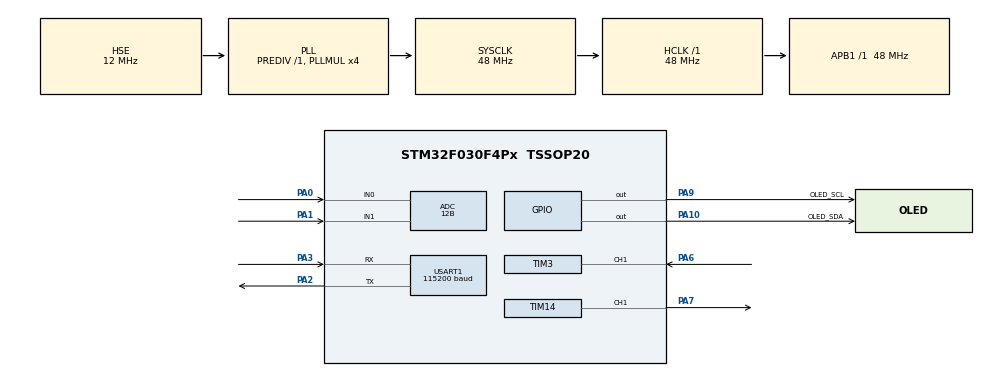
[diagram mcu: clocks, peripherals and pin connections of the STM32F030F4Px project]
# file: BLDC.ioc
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ADC.ClockPrescaler=ADC_CLOCK_ASYNC_DIV1
ADC.ContinuousConvMode=ENABLE
ADC.DMAContinuousRequests=ENABLE
ADC.DataAlign=ADC_DATAALIGN_RIGHT
ADC.DiscontinuousConvMode=DISABLE
ADC.EOCSelection=ADC_EOC_SINGLE_SEQ_CONV
ADC.EnableAnalogWatchDog=false
ADC.ExternalTrigConvEdge=ADC_EXTERNALTRIGCONVEDGE_NONE
ADC.LowPowerAutoPowerOff=DISABLE
ADC.LowPowerAutoWait=DISABLE
ADC.Overrun=ADC_OVR_DATA_PRESERVED
ADC.Resolution=ADC_RESOLUTION_12B
ADC.SamplingTime=ADC_SAMPLETIME_7CYCLES_5
ADC.ScanConvMode=ADC_SCAN_DIRECTION_FORWARD
Dma.ADC.0.Direction=DMA_PERIPH_TO_MEMORY
Dma.ADC.0.Instance=DMA1_Channel1
Dma.ADC.0.MemDataAlignment=DMA_MDATAALIGN_WORD
Dma.ADC.0.MemInc=DMA_MINC_ENABLE
Dma.ADC.0.Mode=DMA_CIRCULAR
Dma.ADC.0.PeriphDataAlignment=DMA_PDATAALIGN_WORD
Dma.ADC.0.PeriphInc=DMA_PINC_DISABLE
Dma.ADC.0.Priority=DMA_PRIORITY_LOW
Dma.Request0=ADC
Mcu.Family=STM32F0
Mcu.Name=STM32F030F4Px
Mcu.Package=TSSOP20
NVIC.DMA1_Channel1_IRQn=true\:0\:0\:false\:false\:true
NVIC.TIM3_IRQn=true\:2\:0\:true\:false\:true
PA0.Mode=IN0
PA0.Signal=ADC_IN0
PA1.Mode=IN1
PA1.Signal=ADC_IN1
PA10.GPIO_FMA10=SYSCFG_CFGR1_I2C_FMP_PA10
PA10.GPIO_Label=OLED_SDA
PA10.GPIO_Speed=GPIO_SPEED_FREQ_HIGH
PA10.PinState=GPIO_PIN_SET
PA10.Signal=GPIO_Output
PA2.Mode=Asynchronous
PA2.Signal=USART1_TX
PA3.Mode=Asynchronous
PA3.Signal=USART1_RX
PA6.Signal=S_TIM3_CH1
PA7.Signal=S_TIM14_CH1
PA9.GPIO_FMA9=SYSCFG_CFGR1_I2C_FMP_PA9
PA9.GPIO_Label=OLED_SCL
PA9.GPIO_Speed=GPIO_SPEED_FREQ_HIGH
PA9.PinState=GPIO_PIN_SET
PA9.Signal=GPIO_Output
PF0-OSC_IN.Mode=HSE-External-Oscillator
PF0-OSC_IN.Signal=RCC_OSC_IN
PF1-OSC_OUT.Mode=HSE-External-Oscillator
PF1-OSC_OUT.Signal=RCC_OSC_OUT
ProjectManager.HeapSize=0x200
ProjectManager.StackSize=0x400
ProjectManager.TargetToolchain=MDK-ARM V5
RCC.AHBFreq_Value=48000000
RCC.APB1Freq_Value=48000000
RCC.APB1TimFreq_Value=48000000
RCC.HCLKFreq_Value=48000000
RCC.HSE_VALUE=12000000
RCC.HSIState=RCC_HSI_ON
RCC.PLLMUL=RCC_PLL_MUL4
RCC.PLLSourceVirtual=RCC_PLLSOURCE_HSE
RCC.SYSCLKFreq_VALUE=48000000
RCC.SYSCLKSource=RCC_SYSCLKSOURCE_PLLCLK
SH.S_TIM14_CH1.0=TIM14_CH1,PWM Generation1 CH1
SH.S_TIM3_CH1.0=TIM3_CH1,Input_Capture1_from_TI1
TIM14.Period=1000-1
TIM3.Period=65535
TIM3.Prescaler=48-1
USART1.BaudRate=115200
VP_TIM14_VS_ClockSourceINT.Mode=Enable_Timer
VP_TIM3_VS_ClockSourceINT.Mode=Internal
board=BLDC

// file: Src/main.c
/**
  ******************************************************************************
  * File Name          : main.c
  * Description        : Main program body
  ******************************************************************************
  *
  * COPYRIGHT(c) 2016 STMicroelectronics
  *
  * Redistribution and use in source and binary forms, with or without modification,
  * are permitted provided that the following conditions are met:
  *   1. Redistributions of source code must retain the above copyright notice,
  *      this list of conditions and the following disclaimer.
  *   2. Redistributions in binary form must reproduce the above copyright notice,
  *      this list of conditions and the following disclaimer in the documentation
  *      and/or other materials provided with the distribution.
  *   3. Neither the name of STMicroelectronics nor the names of its contributors
  *      may be used to endorse or promote products derived from this software
  *      without specific prior written permission.
  *
  * THIS SOFTWARE IS PROVIDED BY THE COPYRIGHT HOLDERS AND CONTRIBUTORS "AS IS"
  * AND ANY EXPRESS OR IMPLIED WARRANTIES, INCLUDING, BUT NOT LIMITED TO, THE
  * IMPLIED WARRANTIES OF MERCHANTABILITY AND FITNESS FOR A PARTICULAR PURPOSE ARE
  * DISCLAIMED. IN NO EVENT SHALL THE COPYRIGHT HOLDER OR CONTRIBUTORS BE LIABLE
  * FOR ANY DIRECT, INDIRECT, INCIDENTAL, SPECIAL, EXEMPLARY, OR CONSEQUENTIAL
  * DAMAGES (INCLUDING, BUT NOT LIMITED TO, PROCUREMENT OF SUBSTITUTE GOODS OR
  * SERVICES; LOSS OF USE, DATA, OR PROFITS; OR BUSINESS INTERRUPTION) HOWEVER
  * CAUSED AND ON ANY THEORY OF LIABILITY, WHETHER IN CONTRACT, STRICT LIABILITY,
  * OR TORT (INCLUDING NEGLIGENCE OR OTHERWISE) ARISING IN ANY WAY OUT OF THE USE
  * OF THIS SOFTWARE, EVEN IF ADVISED OF THE POSSIBILITY OF SUCH DAMAGE.
  *
  ******************************************************************************
  */
#include "main.h"
#include "stm32f0xx_hal.h"
#include "adc.h"
#include "dma.h"
#include "tim.h"
#include "usart.h"
#include "gpio.h"

/* USER CODE BEGIN Includes */
#include "oled.h"
#include "bmp.h"
/* USER CODE END Includes */

/* USER CODE BEGIN PV */
/* Private variables ---------------------------------------------------------*/

/* USER CODE END PV */

void SystemClock_Config(void);
void Error_Handler(void);

/* USER CODE BEGIN PFP */
/* Private function prototypes -----------------------------------------------*/
uint32_t ADC_Value[100];

//捕获状态
//[7]:0,没有成功的捕获;1,成功捕获到一次.
//[6]:0,还没捕获到低电平;1,已经捕获到低电平了.
//[5:0]:捕获低电平后溢出的次数(对于32位定时器来说,1us计数器加1,溢出时间:4294秒)
uint8_t  TIM3CH1_CAPTURE_STA=0;	//输入捕获状态
uint32_t	TIM3CH1_CAPTURE_VAL;	//输入捕获值(TIM2/TIM5是32位)
/* USER CODE END PFP */

int main(void)
{

  /* USER CODE BEGIN 1 */
  uint8_t i;
  volatile uint32_t adc0, adc1;
  volatile long long temp = 0;
  volatile float setspeed, speed;
  /* USER CODE END 1 */

  /* MCU Configuration----------------------------------------------------------*/

  /* Reset of all peripherals, Initializes the Flash interface and the Systick. */
  HAL_Init();

  /* Configure the system clock */
  SystemClock_Config();

  /* Initialize all configured peripherals */
  MX_GPIO_Init();
  MX_DMA_Init();
  MX_USART1_UART_Init();
  MX_ADC_Init();
  MX_TIM14_Init();
  MX_TIM3_Init();

  /* USER CODE BEGIN 2 */
  OLED_Init();
	HAL_ADC_Start_DMA(&hadc, (uint32_t *)&ADC_Value, 100);
	printf("Hello, Benewake!");
  User_PWM_SetValue(450); //48kHz, 45%占空比启��?
  HAL_Delay(10);
  OLED_ShowString(0, 0, "I(mA)", 16);
  //OLED_ShowString(39, 0, "ADC1", 16);
  OLED_ShowString(48, 0, " PWM", 16);
  OLED_ShowString(88, 0, "f(Hz)", 16);
  HAL_TIM_IC_Start_IT(&htim3, TIM_CHANNEL_1);
  __HAL_TIM_ENABLE_IT(&htim3, TIM_IT_UPDATE);

  /* USER CODE END 2 */

  /* Infinite loop */
  while (1)
  {

  /* USER CODE BEGIN 3 */
    for(i = 0,adc0 =0,adc1=0; i < 100;)
    {
        adc0 += ADC_Value[i++];
        adc1 += ADC_Value[i++];
    }
    adc0 /= 50;
    adc1 /= 50;

    //printf("\r\n******** ADC DMA Example ********\r\n\r\n");
    //printf(" adc0 value = %1.3fV \r\n", adc0*3.3f/4096);
    // printf(" adc1 value = %1.3fV \r\n", adc1*3.3f/4096); //0V 3.239V 3.236V 3.240V 0~4020
    //printf(" adc1 value = %d \r\n", adc1);

    OLED_ShowNum(0, 2, adc0*1000/3723, 4, 16);  //1A - 3V - 3723
    //OLED_ShowNum(39, 2, adc1, 4, 16);

    adc1 = (adc1>4000) ? 1000 : (adc1/4);
    OLED_ShowNum(48, 2, adc1, 4, 16);
    User_PWM_SetValue(adc1);

    if(TIM3CH1_CAPTURE_STA&0X80)        //成功捕获到了一次高电平
		{
			temp=TIM3CH1_CAPTURE_STA&0X3F;
			temp*=65535;		 	    //溢出时间总和
			temp+=TIM3CH1_CAPTURE_VAL;      //得到总的高电平时间
			//printf("HIGH:%lld us\r\n",temp);//打印总的高点平时间, us
			TIM3CH1_CAPTURE_STA=0;          //开启下一次捕获
		}
    OLED_ShowNum(88, 2, 1000000/2/temp, 4, 16);  //占空比50%， 不要超过9999转， 不然， 显示不出来, 只显示转速整数部分

    setspeed = adc1 * 0.05 - 8;
    speed = 500000.0/temp;
    printf("%.2f, %.2f\n", setspeed, speed);  //speed = 0.05*PWM - 9; 不是很准确， 应该需要用PID算法来确定. 而不是假设线性

    HAL_Delay(100);

    //由于代码超出16kB, 注释掉了OLED的图片， 中文和8*8支持.

//		OLED_Clear();
//    OLED_ShowString(0,0,"0.91OLEDTEST",8);
//    OLED_ShowString(0,1,"0123456789AB",8);

//   OLED_Clear();
//   x's 1 represents 1 pix, y's 1 represents 8 pix.
//   OLED_ShowString(0,0,"0.91OLEDTEST",16);
//   OLED_ShowString(8,2,"0123456789AB",16);

  }
  /* USER CODE END 3 */

}

/** System Clock Configuration
*/
void SystemClock_Config(void)
{

  RCC_OscInitTypeDef RCC_OscInitStruct;
  RCC_ClkInitTypeDef RCC_ClkInitStruct;
  RCC_PeriphCLKInitTypeDef PeriphClkInit;

    /**Initializes the CPU, AHB and APB busses clocks
    */
  RCC_OscInitStruct.OscillatorType = RCC_OSCILLATORTYPE_HSI14|RCC_OSCILLATORTYPE_HSE;
  RCC_OscInitStruct.HSEState = RCC_HSE_ON;
  RCC_OscInitStruct.HSIState = RCC_HSI_ON;
  RCC_OscInitStruct.HSI14State = RCC_HSI14_ON;
  RCC_OscInitStruct.HSI14CalibrationValue = 16;
  RCC_OscInitStruct.PLL.PLLState = RCC_PLL_ON;
  RCC_OscInitStruct.PLL.PLLSource = RCC_PLLSOURCE_HSE;
  RCC_OscInitStruct.PLL.PLLMUL = RCC_PLL_MUL4;
  RCC_OscInitStruct.PLL.PREDIV = RCC_PREDIV_DIV1;
  if (HAL_RCC_OscConfig(&RCC_OscInitStruct) != HAL_OK)
  {
    Error_Handler();
  }

    /**Initializes the CPU, AHB and APB busses clocks
    */
  RCC_ClkInitStruct.ClockType = RCC_CLOCKTYPE_HCLK|RCC_CLOCKTYPE_SYSCLK
                              |RCC_CLOCKTYPE_PCLK1;
  RCC_ClkInitStruct.SYSCLKSource = RCC_SYSCLKSOURCE_PLLCLK;
  RCC_ClkInitStruct.AHBCLKDivider = RCC_SYSCLK_DIV1;
  RCC_ClkInitStruct.APB1CLKDivider = RCC_HCLK_DIV1;

  if (HAL_RCC_ClockConfig(&RCC_ClkInitStruct, FLASH_LATENCY_1) != HAL_OK)
  {
    Error_Handler();
  }

  PeriphClkInit.PeriphClockSelection = RCC_PERIPHCLK_USART1;
  PeriphClkInit.Usart1ClockSelection = RCC_USART1CLKSOURCE_PCLK1;
  if (HAL_RCCEx_PeriphCLKConfig(&PeriphClkInit) != HAL_OK)
  {
    Error_Handler();
  }

    /**Configure the Systick interrupt time
    */
  HAL_SYSTICK_Config(HAL_RCC_GetHCLKFreq()/1000);

    /**Configure the Systick
    */
  HAL_SYSTICK_CLKSourceConfig(SYSTICK_CLKSOURCE_HCLK);

  /* SysTick_IRQn interrupt configuration */
  HAL_NVIC_SetPriority(SysTick_IRQn, 0, 0);
}

/* USER CODE BEGIN 4 */
//定时器更新中断（计数溢出）中断处理回调函数， 该函数在HAL_TIM_IRQHandler中会被调用
void HAL_TIM_PeriodElapsedCallback(TIM_HandleTypeDef *htim)//更新中断（溢出）发生时执行
{

	if((TIM3CH1_CAPTURE_STA&0X80)==0)//还未成功捕获
	{
			if(TIM3CH1_CAPTURE_STA&0X40)//已经捕获到高电平了
			{
				if((TIM3CH1_CAPTURE_STA&0X3F)==0X3F)//高电平太长了
				{
					TIM3CH1_CAPTURE_STA|=0X80;		//标记成功捕获了一次
					TIM3CH1_CAPTURE_VAL=65535;
				}else TIM3CH1_CAPTURE_STA++;
			}
	}
}

//定时器输入捕获中断处理回调函数，该函数在HAL_TIM_IRQHandler中会被调用
void HAL_TIM_IC_CaptureCallback(TIM_HandleTypeDef *htim)//捕获中断发生时执行
{
	if((TIM3CH1_CAPTURE_STA&0X80)==0)//还未成功捕获
	{
		if(TIM3CH1_CAPTURE_STA&0X40)		//捕获到一个下降沿
			{
				TIM3CH1_CAPTURE_STA|=0X80;		//标记成功捕获到一次高电平脉宽
                TIM3CH1_CAPTURE_VAL=HAL_TIM_ReadCapturedValue(&htim3,TIM_CHANNEL_1);//获取当前的捕获值.
                TIM_RESET_CAPTUREPOLARITY(&htim3,TIM_CHANNEL_1);   //一定要先清除原来的设置！！
                TIM_SET_CAPTUREPOLARITY(&htim3,TIM_CHANNEL_1,TIM_ICPOLARITY_RISING);//配置TIM5通道1上升沿捕获
			}else  								//还未开始,第一次捕获上升沿
			{
				TIM3CH1_CAPTURE_STA=0;			//清空
				TIM3CH1_CAPTURE_VAL=0;
				TIM3CH1_CAPTURE_STA|=0X40;		//标记捕获到了上升沿
				__HAL_TIM_DISABLE(&htim3);        //关闭定时器5
				__HAL_TIM_SET_COUNTER(&htim3,0);
				TIM_RESET_CAPTUREPOLARITY(&htim3,TIM_CHANNEL_1);   //一定要先清除原来的设置！！
				TIM_SET_CAPTUREPOLARITY(&htim3,TIM_CHANNEL_1,TIM_ICPOLARITY_FALLING);//定时器5通道1设置为下降沿捕获
				__HAL_TIM_ENABLE(&htim3);//使能定时器5
			}
	}

}
/* USER CODE END 4 */

void Error_Handler(void)
{
  while(1)
  {
  }
}

/************************ (C) COPYRIGHT STMicroelectronics *****END OF FILE****/
